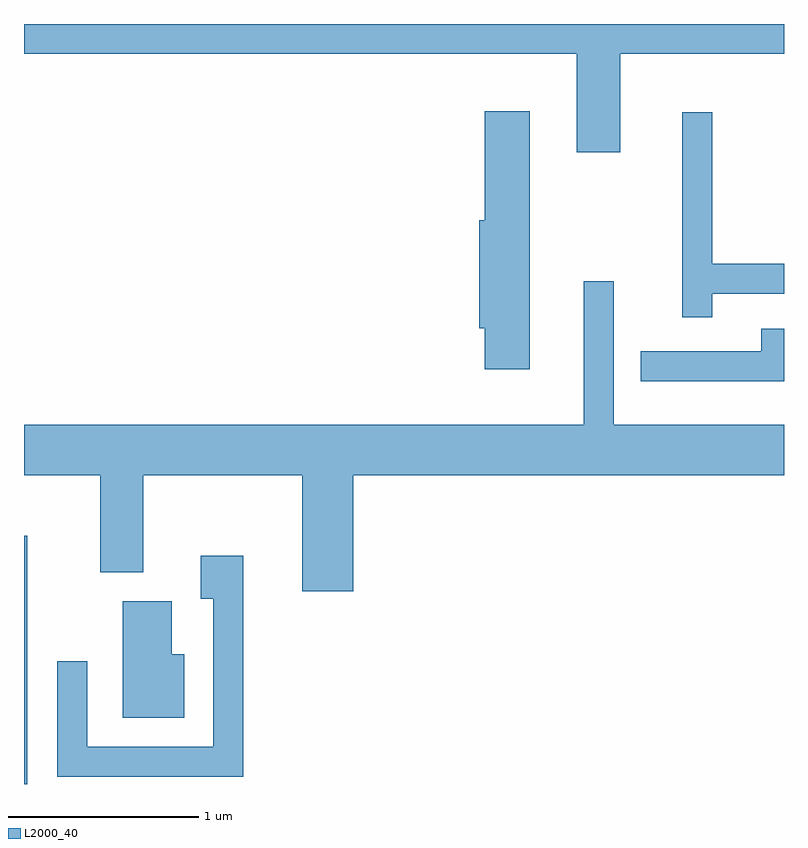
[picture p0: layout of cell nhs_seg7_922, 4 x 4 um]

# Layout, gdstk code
import gdstk
lib = gdstk.Library(unit=1e-6, precision=1e-09)
def R(c, l, rs):  # rectangles x0, y0, x1, y1
    for r in rs: c.add(gdstk.rectangle(r[:2], r[2:], *l))
def P(c, l, *ps):  # polygons
    for p in ps: c.add(gdstk.Polygon(p, *l))
L2000_40 = (2000, 40)

nhs_seg7_922 = lib.new_cell('nhs_seg7_922')
R(nhs_seg7_922, L2000_40, [(213.611,1708.252,213.629,1709.559)])
P(nhs_seg7_922, L2000_40, [(216.749,1712.096),(217.611,1712.096),(217.611,1712.252),(213.611,1712.252),(213.611,1712.096),(216.521,1712.096),(216.521,1711.576),(216.749,1711.576)],
  [(216.274,1711.794),(216.036,1711.794),(216.036,1711.219),(216.006,1711.219),(216.006,1710.651),(216.036,1710.651),(216.036,1710.436),(216.274,1710.436)],
  [(217.234,1710.831),(217.611,1710.831),(217.611,1710.989),(217.234,1710.989),(217.234,1711.788),(217.076,1711.788),(217.076,1710.708),(217.234,1710.708)],
  [(215.344,1709.876),(217.611,1709.876),(217.611,1710.144),(216.714,1710.144),(216.714,1710.898),(216.556,1710.898),(216.556,1710.144),(213.611,1710.144),(213.611,1709.876),(214.011,1709.876),(214.011,1709.366),(214.239,1709.366),(214.239,1709.876),(215.076,1709.876),(215.076,1709.266),(215.344,1709.266)],
  [(217.611,1710.649),(217.491,1710.649),(217.491,1710.529),(216.858,1710.529),(216.858,1710.371),(217.611,1710.371)],
  [(214.764,1709.454),(214.541,1709.454),(214.541,1709.226),(214.606,1709.226),(214.606,1708.449),(213.944,1708.449),(213.944,1708.898),(213.786,1708.898),(213.786,1708.291),(214.764,1708.291)],
  [(214.454,1708.934),(214.389,1708.934),(214.389,1709.214),(214.131,1709.214),(214.131,1708.601),(214.454,1708.601)])

lib.write_gds('nhs_seg7_922.gds')
